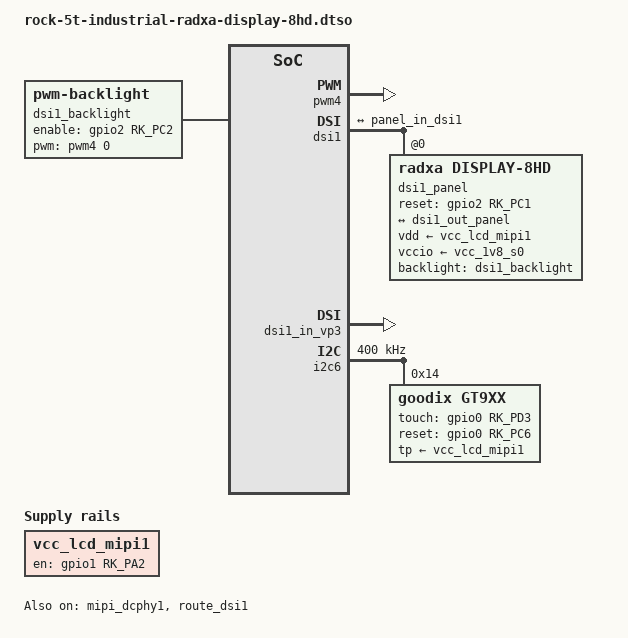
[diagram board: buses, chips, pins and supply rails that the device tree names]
/dts-v1/;
/plugin/;

#include <dt-bindings/interrupt-controller/irq.h>
#include <dt-bindings/gpio/gpio.h>
#include <dt-bindings/pinctrl/rockchip.h>
#include <dt-bindings/pwm/pwm.h>

/ {
	metadata {
		title ="Enable Radxa Display 8HD";
		compatible = "radxa,rock-5t-industrial";
		category = "display";
		exclusive = "dsi1", "GPIO1_A2";
		description = "Enable Radxa Display 8HD.";
	};
};

&{/} {
	vcc_lcd_mipi1: vcc-lcd-mipi1 {
		status = "okay";
		compatible = "regulator-fixed";
		regulator-name = "vcc_lcd_mipi1";
		gpio = <&gpio1 RK_PA2 GPIO_ACTIVE_HIGH>;
		enable-active-high;
		regulator-boot-on;
		regulator-state-mem {
			regulator-off-in-suspend;
		};
	};

	dsi1_backlight: dsi1-backlight {
		status = "okay";
		compatible = "pwm-backlight";
		pwms = <&pwm4 0 25000 PWM_POLARITY_INVERTED>;
		brightness-levels = <0 255>;
		num-interpolated-steps = <255>;
		default-brightness-level = <200>;
		enable-gpios = <&gpio2 RK_PC2 GPIO_ACTIVE_HIGH>;
		pinctrl-names = "default";
		pinctrl-0 = <&dsi1_backlight_en>;
	};
};

&pwm4 {
	status = "okay";
	pinctrl-names = "active";
	pinctrl-0 = <&pwm4m1_pins>;
};

&dsi1 {
	status = "okay";
	rockchip,lane-rate = <480>;
	#address-cells = <1>;
	#size-cells = <0>;

	dsi1_panel: panel@0 {
		status = "okay";
		compatible = "radxa,display-8hd";
		reg = <0>;
		backlight = <&dsi1_backlight>;

		vdd-supply = <&vcc_lcd_mipi1>;
		vccio-supply = <&vcc_1v8_s0>;
		reset-gpios = <&gpio2 RK_PC1 GPIO_ACTIVE_HIGH>;
		pinctrl-names = "default";
		pinctrl-0 = <&dsi1_lcd_rst_gpio>;

		ports {
			#address-cells = <1>;
			#size-cells = <0>;

			port@0 {
				reg = <0>;
				panel_in_dsi1: endpoint {
					remote-endpoint = <&dsi1_out_panel>;
				};
			};
		};
	};

	ports {
		#address-cells = <1>;
		#size-cells = <0>;

		port@1 {
			reg = <1>;
			dsi1_out_panel: endpoint {
				remote-endpoint = <&panel_in_dsi1>;
			};
		};
	};
};

&mipi_dcphy1 {
	status = "okay";
};

&route_dsi1 {
	status = "okay";
	connect = <&vp3_out_dsi1>;
};

&dsi1_in_vp2 {
	status = "disabled";
};

&dsi1_in_vp3 {
	status = "okay";
};

&i2c6 {
	status = "okay";
	pinctrl-names = "default";
	pinctrl-0 = <&i2c6m0_xfer>;
	clock-frequency = <400000>;
	#address-cells = <1>;
	#size-cells = <0>;

	gt9xx: gt9xx@14 {
		compatible = "goodix,gt9xx";
		reg = <0x14>;
		pinctrl-names = "default";
		pinctrl-0 = <&gt9xx_gpio>;
		touch-gpio = <&gpio0 RK_PD3 IRQ_TYPE_LEVEL_HIGH>;
		reset-gpio = <&gpio0 RK_PC6 GPIO_ACTIVE_HIGH>;
		max-x = <800>;
		max-y = <1280>;
		tp-size = <9112>;
		tp-supply = <&vcc_lcd_mipi1>;
	};
};

&pinctrl {
	dsi1-lcd {
		dsi1_lcd_rst_gpio: dsi1-lcd-rst-gpio {
			rockchip,pins = <2 RK_PC1 RK_FUNC_GPIO &pcfg_pull_up>;
		};

		dsi1_backlight_en: dsi1-backlight-en {
			rockchip,pins = <2 RK_PC2 RK_FUNC_GPIO &pcfg_pull_up>;
		};
	};

	gt9xx {
		gt9xx_gpio: gt9xx-gpio {
			rockchip,pins =
				<0 RK_PC6 RK_FUNC_GPIO &pcfg_pull_none>,
				<0 RK_PD3 RK_FUNC_GPIO &pcfg_pull_up>;
		};
	};
};
